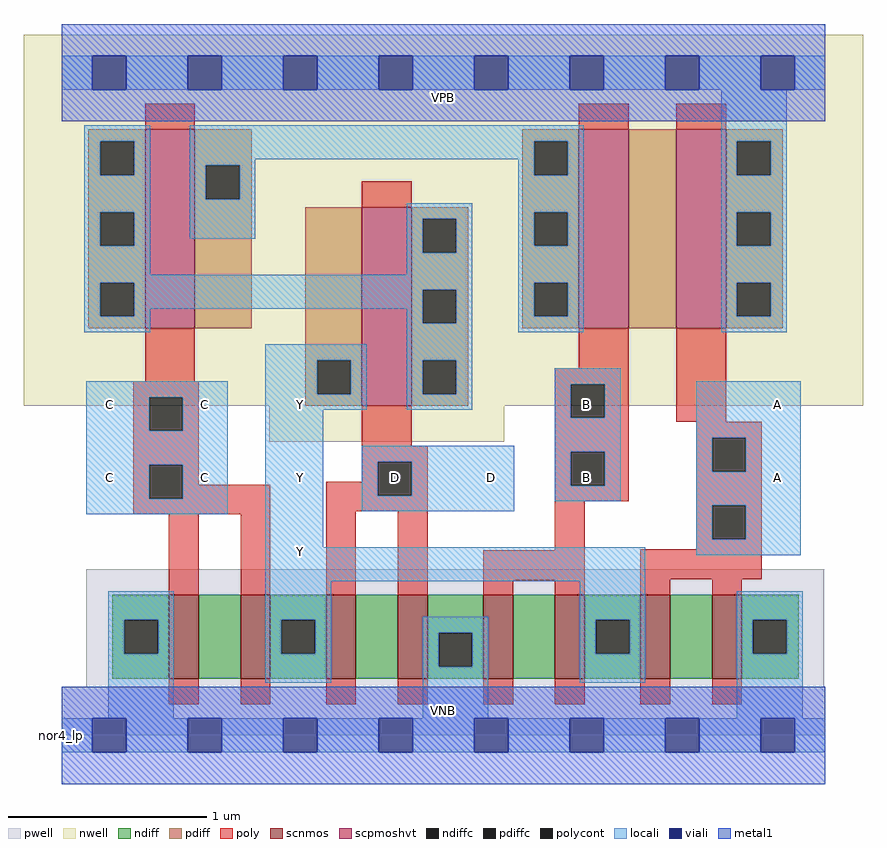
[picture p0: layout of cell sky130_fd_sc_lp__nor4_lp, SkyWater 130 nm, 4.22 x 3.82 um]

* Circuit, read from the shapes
.subckt sky130_fd_sc_lp__nor4_lp A B C D VGND VNB VPB VPWR Y
XM1 n1 C VGND VNB sky130_fd_pr__nfet_01v8 w=0.42 l=0.15
XM2 Y C n1 VNB sky130_fd_pr__nfet_01v8 w=0.42 l=0.15
XM3 n2 D Y VNB sky130_fd_pr__nfet_01v8 w=0.42 l=0.15
XM4 VGND D n2 VNB sky130_fd_pr__nfet_01v8 w=0.42 l=0.15
XM5 n3 B VGND VNB sky130_fd_pr__nfet_01v8 w=0.42 l=0.15
XM6 Y B n3 VNB sky130_fd_pr__nfet_01v8 w=0.42 l=0.15
XM7 n4 A Y VNB sky130_fd_pr__nfet_01v8 w=0.42 l=0.15
XM8 VGND A n4 VNB sky130_fd_pr__nfet_01v8 w=0.42 l=0.15
XM9 n5 C n6 VPB sky130_fd_pr__pfet_01v8_hvt w=1 l=0.25
XM10 n6 D Y VPB sky130_fd_pr__pfet_01v8_hvt w=1 l=0.25
XM11 n7 B n5 VPB sky130_fd_pr__pfet_01v8_hvt w=1 l=0.25
XM12 VPWR A n7 VPB sky130_fd_pr__pfet_01v8_hvt w=1 l=0.25
.ends

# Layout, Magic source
magic
tech sky130A
magscale 1 2
<< nwell >>
rect -38 331 806 704
rect 209 295 445 331
<< pwell >>
rect 25 49 767 167
rect 0 0 768 49
<< scnmos >>
rect 108 57 138 141
rect 180 57 210 141
rect 266 57 296 141
rect 338 57 368 141
rect 424 57 454 141
rect 496 57 526 141
rect 582 57 612 141
rect 654 57 684 141
<< scpmoshvt >>
rect 84 409 134 609
rect 302 331 352 531
rect 520 409 570 609
rect 618 409 668 609
<< ndiff >>
rect 51 116 108 141
rect 51 82 63 116
rect 97 82 108 116
rect 51 57 108 82
rect 138 57 180 141
rect 210 116 266 141
rect 210 82 221 116
rect 255 82 266 116
rect 210 57 266 82
rect 296 57 338 141
rect 368 103 424 141
rect 368 69 379 103
rect 413 69 424 103
rect 368 57 424 69
rect 454 57 496 141
rect 526 116 582 141
rect 526 82 537 116
rect 571 82 582 116
rect 526 57 582 82
rect 612 57 654 141
rect 684 116 741 141
rect 684 82 695 116
rect 729 82 741 116
rect 684 57 741 82
<< pdiff >>
rect 27 597 84 609
rect 27 563 39 597
rect 73 563 84 597
rect 27 526 84 563
rect 27 492 39 526
rect 73 492 84 526
rect 27 455 84 492
rect 27 421 39 455
rect 73 421 84 455
rect 27 409 84 421
rect 134 573 191 609
rect 134 539 145 573
rect 179 539 191 573
rect 463 597 520 609
rect 463 563 475 597
rect 509 563 520 597
rect 134 409 191 539
rect 245 377 302 531
rect 245 343 257 377
rect 291 343 302 377
rect 245 331 302 343
rect 352 519 409 531
rect 352 485 363 519
rect 397 485 409 519
rect 352 448 409 485
rect 352 414 363 448
rect 397 414 409 448
rect 352 377 409 414
rect 463 526 520 563
rect 463 492 475 526
rect 509 492 520 526
rect 463 455 520 492
rect 463 421 475 455
rect 509 421 520 455
rect 463 409 520 421
rect 570 409 618 609
rect 668 597 725 609
rect 668 563 679 597
rect 713 563 725 597
rect 668 526 725 563
rect 668 492 679 526
rect 713 492 725 526
rect 668 455 725 492
rect 668 421 679 455
rect 713 421 725 455
rect 668 409 725 421
rect 352 343 363 377
rect 397 343 409 377
rect 352 331 409 343
<< ndiffc >>
rect 63 82 97 116
rect 221 82 255 116
rect 379 69 413 103
rect 537 82 571 116
rect 695 82 729 116
<< pdiffc >>
rect 39 563 73 597
rect 39 492 73 526
rect 39 421 73 455
rect 145 539 179 573
rect 475 563 509 597
rect 257 343 291 377
rect 363 485 397 519
rect 363 414 397 448
rect 475 492 509 526
rect 475 421 509 455
rect 679 563 713 597
rect 679 492 713 526
rect 679 421 713 455
rect 363 343 397 377
<< poly >>
rect 84 609 134 635
rect 520 609 570 635
rect 618 609 668 635
rect 302 531 352 557
rect 84 356 134 409
rect 72 340 138 356
rect 72 306 88 340
rect 122 306 138 340
rect 520 369 570 409
rect 496 353 570 369
rect 72 272 138 306
rect 72 238 88 272
rect 122 252 138 272
rect 302 291 352 331
rect 496 319 512 353
rect 546 319 570 353
rect 302 275 368 291
rect 302 255 318 275
rect 122 238 210 252
rect 72 222 210 238
rect 108 141 138 222
rect 180 141 210 222
rect 266 241 318 255
rect 352 241 368 275
rect 266 225 368 241
rect 266 141 296 225
rect 338 141 368 225
rect 496 285 570 319
rect 618 315 668 409
rect 496 251 512 285
rect 546 251 570 285
rect 496 235 570 251
rect 638 299 704 315
rect 638 265 654 299
rect 688 265 704 299
rect 496 186 526 235
rect 638 231 704 265
rect 638 197 654 231
rect 688 197 704 231
rect 638 187 704 197
rect 424 156 526 186
rect 424 141 454 156
rect 496 141 526 156
rect 582 157 704 187
rect 582 141 612 157
rect 654 141 684 157
rect 108 31 138 57
rect 180 31 210 57
rect 266 31 296 57
rect 338 31 368 57
rect 424 31 454 57
rect 496 31 526 57
rect 582 31 612 57
rect 654 31 684 57
<< polycont >>
rect 88 306 122 340
rect 88 238 122 272
rect 512 319 546 353
rect 318 241 352 275
rect 512 251 546 285
rect 654 265 688 299
rect 654 197 688 231
<< locali >>
rect 0 649 31 683
rect 65 649 127 683
rect 161 649 223 683
rect 257 649 319 683
rect 353 649 415 683
rect 449 649 511 683
rect 545 649 607 683
rect 641 649 703 683
rect 737 649 768 683
rect 23 597 89 613
rect 23 563 39 597
rect 73 563 89 597
rect 23 526 89 563
rect 23 492 39 526
rect 73 492 89 526
rect 129 597 525 613
rect 129 579 475 597
rect 129 573 195 579
rect 129 539 145 573
rect 179 539 195 573
rect 129 499 195 539
rect 459 563 475 579
rect 509 563 525 597
rect 347 519 413 535
rect 23 463 89 492
rect 347 485 363 519
rect 397 485 413 519
rect 347 463 413 485
rect 23 455 413 463
rect 23 421 39 455
rect 73 448 413 455
rect 73 429 363 448
rect 73 421 89 429
rect 23 405 89 421
rect 347 414 363 429
rect 397 414 413 448
rect 205 377 307 393
rect 25 340 167 356
rect 25 306 88 340
rect 122 306 167 340
rect 25 272 167 306
rect 25 238 88 272
rect 122 238 167 272
rect 25 222 167 238
rect 205 343 257 377
rect 291 343 307 377
rect 205 327 307 343
rect 347 377 413 414
rect 459 526 525 563
rect 459 492 475 526
rect 509 492 525 526
rect 459 455 525 492
rect 459 421 475 455
rect 509 421 525 455
rect 459 405 525 421
rect 663 597 729 649
rect 663 563 679 597
rect 713 563 729 597
rect 663 526 729 563
rect 663 492 679 526
rect 713 492 729 526
rect 663 455 729 492
rect 663 421 679 455
rect 713 421 729 455
rect 663 405 729 421
rect 347 343 363 377
rect 397 343 413 377
rect 347 327 413 343
rect 496 353 562 369
rect 205 189 263 327
rect 496 319 512 353
rect 546 319 562 353
rect 302 275 455 291
rect 302 241 318 275
rect 352 241 455 275
rect 302 225 455 241
rect 496 285 562 319
rect 496 251 512 285
rect 546 251 562 285
rect 496 235 562 251
rect 638 299 743 356
rect 638 265 654 299
rect 688 265 743 299
rect 638 231 743 265
rect 638 197 654 231
rect 688 197 743 231
rect 205 155 587 189
rect 638 181 743 197
rect 47 116 113 145
rect 47 82 63 116
rect 97 82 113 116
rect 47 17 113 82
rect 205 116 271 155
rect 205 82 221 116
rect 255 82 271 116
rect 205 53 271 82
rect 363 103 429 119
rect 363 69 379 103
rect 413 69 429 103
rect 363 17 429 69
rect 521 116 587 155
rect 521 82 537 116
rect 571 82 587 116
rect 521 53 587 82
rect 679 116 745 145
rect 679 82 695 116
rect 729 82 745 116
rect 679 17 745 82
rect 0 -17 31 17
rect 65 -17 127 17
rect 161 -17 223 17
rect 257 -17 319 17
rect 353 -17 415 17
rect 449 -17 511 17
rect 545 -17 607 17
rect 641 -17 703 17
rect 737 -17 768 17
<< viali >>
rect 31 649 65 683
rect 127 649 161 683
rect 223 649 257 683
rect 319 649 353 683
rect 415 649 449 683
rect 511 649 545 683
rect 607 649 641 683
rect 703 649 737 683
rect 31 -17 65 17
rect 127 -17 161 17
rect 223 -17 257 17
rect 319 -17 353 17
rect 415 -17 449 17
rect 511 -17 545 17
rect 607 -17 641 17
rect 703 -17 737 17
<< metal1 >>
rect 0 683 768 715
rect 0 649 31 683
rect 65 649 127 683
rect 161 649 223 683
rect 257 649 319 683
rect 353 649 415 683
rect 449 649 511 683
rect 545 649 607 683
rect 641 649 703 683
rect 737 649 768 683
rect 0 617 768 649
rect 0 17 768 49
rect 0 -17 31 17
rect 65 -17 127 17
rect 161 -17 223 17
rect 257 -17 319 17
rect 353 -17 415 17
rect 449 -17 511 17
rect 545 -17 607 17
rect 641 -17 703 17
rect 737 -17 768 17
rect 0 -49 768 -17
<< labels >>
flabel pwell s 0 0 768 49 0 FreeSans 200 0 0 0 VNB
port 6 nsew ground bidirectional
flabel nwell s 0 617 768 666 0 FreeSans 200 0 0 0 VPB
port 7 nsew power bidirectional
rlabel comment s 0 0 0 0 4 nor4_lp
flabel metal1 s 0 617 768 666 0 FreeSans 340 0 0 0 VPWR
port 8 nsew power bidirectional
flabel metal1 s 0 0 768 49 0 FreeSans 340 0 0 0 VGND
port 5 nsew ground bidirectional
flabel locali s 319 242 353 276 0 FreeSans 340 0 0 0 D
port 4 nsew signal input
flabel locali s 415 242 449 276 0 FreeSans 340 0 0 0 D
port 4 nsew signal input
flabel locali s 31 242 65 276 0 FreeSans 340 0 0 0 C
port 3 nsew signal input
flabel locali s 31 316 65 350 0 FreeSans 340 0 0 0 C
port 3 nsew signal input
flabel locali s 127 242 161 276 0 FreeSans 340 0 0 0 C
port 3 nsew signal input
flabel locali s 127 316 161 350 0 FreeSans 340 0 0 0 C
port 3 nsew signal input
flabel locali s 511 242 545 276 0 FreeSans 340 0 0 0 B
port 2 nsew signal input
flabel locali s 511 316 545 350 0 FreeSans 340 0 0 0 B
port 2 nsew signal input
flabel locali s 703 242 737 276 0 FreeSans 340 0 0 0 A
port 1 nsew signal input
flabel locali s 703 316 737 350 0 FreeSans 340 0 0 0 A
port 1 nsew signal input
flabel locali s 223 168 257 202 0 FreeSans 340 0 0 0 Y
port 9 nsew signal output
flabel locali s 223 242 257 276 0 FreeSans 340 0 0 0 Y
port 9 nsew signal output
flabel locali s 223 316 257 350 0 FreeSans 340 0 0 0 Y
port 9 nsew signal output
<< properties >>
string LEFsite unit
string LEFclass CORE
string FIXED_BBOX 0 0 768 666
string GDS_FILE $PDKPATH/libs.ref/sky130_fd_sc_lp/gds/sky130_fd_sc_lp.gds
string LEFsymmetry X Y R90
string GDS_END 4353522
string GDS_START 4345902
<< end >>
